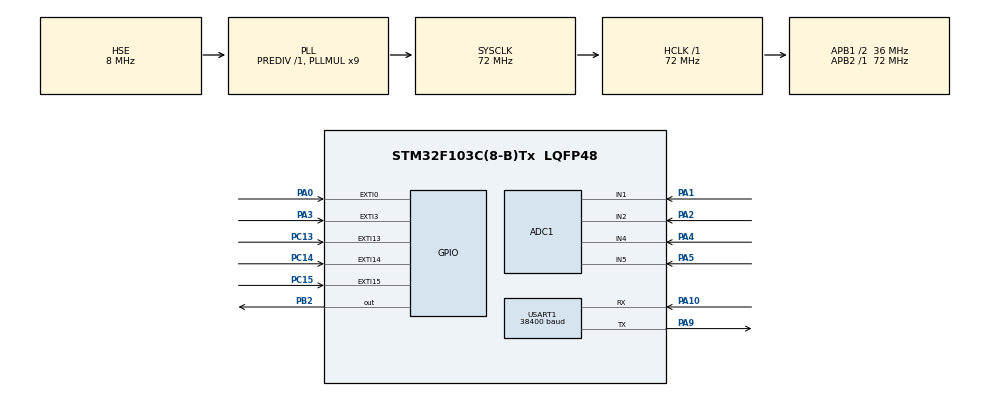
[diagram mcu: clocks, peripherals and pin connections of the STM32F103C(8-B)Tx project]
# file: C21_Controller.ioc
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ADC1.Channel-0\#ChannelRegularConversion=ADC_CHANNEL_1
ADC1.Channel-1\#ChannelRegularConversion=ADC_CHANNEL_2
ADC1.Channel-4\#ChannelRegularConversion=ADC_CHANNEL_4
ADC1.Channel-5\#ChannelRegularConversion=ADC_CHANNEL_5
ADC1.ContinuousConvMode=ENABLE
ADC1.NbrOfConversion=4
ADC1.NbrOfConversionFlag=1
ADC1.Rank-0\#ChannelRegularConversion=1
ADC1.Rank-1\#ChannelRegularConversion=2
ADC1.Rank-4\#ChannelRegularConversion=3
ADC1.Rank-5\#ChannelRegularConversion=4
ADC1.SamplingTime-0\#ChannelRegularConversion=ADC_SAMPLETIME_239CYCLES_5
ADC1.SamplingTime-1\#ChannelRegularConversion=ADC_SAMPLETIME_239CYCLES_5
ADC1.SamplingTime-4\#ChannelRegularConversion=ADC_SAMPLETIME_239CYCLES_5
ADC1.SamplingTime-5\#ChannelRegularConversion=ADC_SAMPLETIME_239CYCLES_5
ADC1.master=1
Dma.ADC1.0.Direction=DMA_PERIPH_TO_MEMORY
Dma.ADC1.0.Instance=DMA1_Channel1
Dma.ADC1.0.MemDataAlignment=DMA_MDATAALIGN_WORD
Dma.ADC1.0.MemInc=DMA_MINC_ENABLE
Dma.ADC1.0.Mode=DMA_CIRCULAR
Dma.ADC1.0.PeriphDataAlignment=DMA_PDATAALIGN_WORD
Dma.ADC1.0.PeriphInc=DMA_PINC_DISABLE
Dma.ADC1.0.Priority=DMA_PRIORITY_LOW
Dma.Request0=ADC1
Mcu.Family=STM32F1
Mcu.Name=STM32F103C(8-B)Tx
Mcu.Package=LQFP48
NVIC.ADC1_2_IRQn=true\:0\:0\:false\:false\:true\:true\:true
NVIC.DMA1_Channel1_IRQn=true\:0\:0\:false\:false\:true\:false\:true
NVIC.PriorityGroup=NVIC_PRIORITYGROUP_4
PA0-WKUP.Signal=GPXTI0
PA1.Signal=ADCx_IN1
PA10.Mode=Asynchronous
PA10.Signal=USART1_RX
PA13.Mode=Serial_Wire
PA13.Signal=SYS_JTMS-SWDIO
PA14.Mode=Serial_Wire
PA14.Signal=SYS_JTCK-SWCLK
PA2.Signal=ADCx_IN2
PA3.Signal=GPXTI3
PA4.Signal=ADCx_IN4
PA5.Signal=ADCx_IN5
PA9.Mode=Asynchronous
PA9.Signal=USART1_TX
PB2.Signal=GPIO_Output
PC13-TAMPER-RTC.Signal=GPXTI13
PC14-OSC32_IN.Signal=GPXTI14
PC15-OSC32_OUT.Signal=GPXTI15
PD0-OSC_IN.Mode=HSE-External-Oscillator
PD0-OSC_IN.Signal=RCC_OSC_IN
PD1-OSC_OUT.Mode=HSE-External-Oscillator
PD1-OSC_OUT.Signal=RCC_OSC_OUT
ProjectManager.HeapSize=0x200
ProjectManager.StackSize=0x400
ProjectManager.TargetToolchain=STM32CubeIDE
RCC.ADCPresc=RCC_ADCPCLK2_DIV6
RCC.AHBFreq_Value=72000000
RCC.APB1CLKDivider=RCC_HCLK_DIV2
RCC.APB1Freq_Value=36000000
RCC.APB1TimFreq_Value=72000000
RCC.APB2Freq_Value=72000000
RCC.APB2TimFreq_Value=72000000
RCC.HCLKFreq_Value=72000000
RCC.PLLMUL=RCC_PLL_MUL9
RCC.PLLSourceVirtual=RCC_PLLSOURCE_HSE
RCC.SYSCLKFreq_VALUE=72000000
RCC.SYSCLKSource=RCC_SYSCLKSOURCE_PLLCLK
RCC.USBFreq_Value=72000000
SH.ADCx_IN1.0=ADC1_IN1,IN1
SH.ADCx_IN2.0=ADC1_IN2,IN2
SH.ADCx_IN4.0=ADC1_IN4,IN4
SH.ADCx_IN5.0=ADC1_IN5,IN5
USART1.BaudRate=38400
USART1.VirtualMode=VM_ASYNC
board=custom

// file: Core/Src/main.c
/* USER CODE BEGIN Header */
/**
  ******************************************************************************
  * @file           : main.c
  * @brief          : Main program body
  ******************************************************************************
  * @attention
  *
  * <h2><center>&copy; Copyright (c) 2020 STMicroelectronics.
  * All rights reserved.</center></h2>
  *
  * This software component is licensed by ST under BSD 3-Clause license,
  * the "License"; You may not use this file except in compliance with the
  * License. You may obtain a copy of the License at:
  *                        opensource.org/licenses/BSD-3-Clause
  *
  ******************************************************************************
  */
/* USER CODE END Header */
#include "main.h"

/* USER CODE BEGIN Includes */
#include <stdbool.h>
#include <stdint.h>
/* USER CODE END Includes */

ADC_HandleTypeDef hadc1;
DMA_HandleTypeDef hdma_adc1;

UART_HandleTypeDef huart1;

/* USER CODE BEGIN PV */
uint32_t VR[4];
uint8_t Tx_data[1];
bool received = false;
/* USER CODE END PV */

void SystemClock_Config(void);
static void MX_GPIO_Init(void);
static void MX_DMA_Init(void);
static void MX_ADC1_Init(void);
static void MX_USART1_UART_Init(void);

int main(void)
{

  /* MCU Configuration--------------------------------------------------------*/

  /* Reset of all peripherals, Initializes the Flash interface and the Systick. */
  HAL_Init();

  /* Configure the system clock */
  SystemClock_Config();

  /* Initialize all configured peripherals */
  MX_GPIO_Init();
  MX_DMA_Init();
  MX_ADC1_Init();
  MX_USART1_UART_Init();
  /* USER CODE BEGIN 2 */
  HAL_ADC_Start_DMA(&hadc1, VR, 4);
  /* USER CODE END 2 */

  /* Infinite loop */
  while (1)
  {

    /* USER CODE BEGIN 3 */
	  if (VR[0] < 1000 || VR[2] < 1000)
	  {
		  Tx_data[0] = 'r';
		  received = true;
	  }
	  if (VR[0] > 3000 || VR[2] > 3000)
	  {
		  Tx_data[0] = 'l';
		  received = true;
	  }
	  if (VR[1] < 1000 || VR[3] < 1000)
	  {
		  Tx_data[0] = 'f';
		  received = true;
	  }
	  if (VR[1] > 3000 || VR[3] > 3000)
	  {
		  Tx_data[0] = 'b';
		  received = true;
	  }
	  if (received)
	  {
		  HAL_UART_Transmit(&huart1, (uint8_t *)Tx_data, sizeof(Tx_data), 50);
		  received = false;
	  }
	  HAL_Delay(50);
  }
  /* USER CODE END 3 */
}

void SystemClock_Config(void)
{
  RCC_OscInitTypeDef RCC_OscInitStruct = {0};
  RCC_ClkInitTypeDef RCC_ClkInitStruct = {0};
  RCC_PeriphCLKInitTypeDef PeriphClkInit = {0};

  /** Initializes the RCC Oscillators according to the specified parameters
  * in the RCC_OscInitTypeDef structure.
  */
  RCC_OscInitStruct.OscillatorType = RCC_OSCILLATORTYPE_HSE;
  RCC_OscInitStruct.HSEState = RCC_HSE_ON;
  RCC_OscInitStruct.HSEPredivValue = RCC_HSE_PREDIV_DIV1;
  RCC_OscInitStruct.HSIState = RCC_HSI_ON;
  RCC_OscInitStruct.PLL.PLLState = RCC_PLL_ON;
  RCC_OscInitStruct.PLL.PLLSource = RCC_PLLSOURCE_HSE;
  RCC_OscInitStruct.PLL.PLLMUL = RCC_PLL_MUL9;
  if (HAL_RCC_OscConfig(&RCC_OscInitStruct) != HAL_OK)
  {
    Error_Handler();
  }
  /** Initializes the CPU, AHB and APB buses clocks
  */
  RCC_ClkInitStruct.ClockType = RCC_CLOCKTYPE_HCLK|RCC_CLOCKTYPE_SYSCLK
                              |RCC_CLOCKTYPE_PCLK1|RCC_CLOCKTYPE_PCLK2;
  RCC_ClkInitStruct.SYSCLKSource = RCC_SYSCLKSOURCE_PLLCLK;
  RCC_ClkInitStruct.AHBCLKDivider = RCC_SYSCLK_DIV1;
  RCC_ClkInitStruct.APB1CLKDivider = RCC_HCLK_DIV2;
  RCC_ClkInitStruct.APB2CLKDivider = RCC_HCLK_DIV1;

  if (HAL_RCC_ClockConfig(&RCC_ClkInitStruct, FLASH_LATENCY_2) != HAL_OK)
  {
    Error_Handler();
  }
  PeriphClkInit.PeriphClockSelection = RCC_PERIPHCLK_ADC;
  PeriphClkInit.AdcClockSelection = RCC_ADCPCLK2_DIV6;
  if (HAL_RCCEx_PeriphCLKConfig(&PeriphClkInit) != HAL_OK)
  {
    Error_Handler();
  }
}

static void MX_ADC1_Init(void)
{

  ADC_ChannelConfTypeDef sConfig = {0};

  /** Common config
  */
  hadc1.Instance = ADC1;
  hadc1.Init.ScanConvMode = ADC_SCAN_ENABLE;
  hadc1.Init.ContinuousConvMode = ENABLE;
  hadc1.Init.DiscontinuousConvMode = DISABLE;
  hadc1.Init.ExternalTrigConv = ADC_SOFTWARE_START;
  hadc1.Init.DataAlign = ADC_DATAALIGN_RIGHT;
  hadc1.Init.NbrOfConversion = 4;
  if (HAL_ADC_Init(&hadc1) != HAL_OK)
  {
    Error_Handler();
  }
  /** Configure Regular Channel
  */
  sConfig.Channel = ADC_CHANNEL_1;
  sConfig.Rank = ADC_REGULAR_RANK_1;
  sConfig.SamplingTime = ADC_SAMPLETIME_239CYCLES_5;
  if (HAL_ADC_ConfigChannel(&hadc1, &sConfig) != HAL_OK)
  {
    Error_Handler();
  }
  /** Configure Regular Channel
  */
  sConfig.Channel = ADC_CHANNEL_2;
  sConfig.Rank = ADC_REGULAR_RANK_2;
  if (HAL_ADC_ConfigChannel(&hadc1, &sConfig) != HAL_OK)
  {
    Error_Handler();
  }
  /** Configure Regular Channel
  */
  sConfig.Channel = ADC_CHANNEL_4;
  sConfig.Rank = ADC_REGULAR_RANK_3;
  if (HAL_ADC_ConfigChannel(&hadc1, &sConfig) != HAL_OK)
  {
    Error_Handler();
  }
  /** Configure Regular Channel
  */
  sConfig.Channel = ADC_CHANNEL_5;
  sConfig.Rank = ADC_REGULAR_RANK_4;
  if (HAL_ADC_ConfigChannel(&hadc1, &sConfig) != HAL_OK)
  {
    Error_Handler();
  }

}

static void MX_USART1_UART_Init(void)
{

  huart1.Instance = USART1;
  huart1.Init.BaudRate = 38400;
  huart1.Init.WordLength = UART_WORDLENGTH_8B;
  huart1.Init.StopBits = UART_STOPBITS_1;
  huart1.Init.Parity = UART_PARITY_NONE;
  huart1.Init.Mode = UART_MODE_TX_RX;
  huart1.Init.HwFlowCtl = UART_HWCONTROL_NONE;
  huart1.Init.OverSampling = UART_OVERSAMPLING_16;
  if (HAL_UART_Init(&huart1) != HAL_OK)
  {
    Error_Handler();
  }

}

static void MX_DMA_Init(void)
{

  /* DMA controller clock enable */
  __HAL_RCC_DMA1_CLK_ENABLE();

  /* DMA interrupt init */
  /* DMA1_Channel1_IRQn interrupt configuration */
  HAL_NVIC_SetPriority(DMA1_Channel1_IRQn, 0, 0);
  HAL_NVIC_EnableIRQ(DMA1_Channel1_IRQn);

}

static void MX_GPIO_Init(void)
{
  GPIO_InitTypeDef GPIO_InitStruct = {0};

  /* GPIO Ports Clock Enable */
  __HAL_RCC_GPIOC_CLK_ENABLE();
  __HAL_RCC_GPIOD_CLK_ENABLE();
  __HAL_RCC_GPIOA_CLK_ENABLE();
  __HAL_RCC_GPIOB_CLK_ENABLE();

  /*Configure GPIO pin Output Level */
  HAL_GPIO_WritePin(GPIOB, GPIO_PIN_2, GPIO_PIN_RESET);

  /*Configure GPIO pins : PC13 PC14 PC15 */
  GPIO_InitStruct.Pin = GPIO_PIN_13|GPIO_PIN_14|GPIO_PIN_15;
  GPIO_InitStruct.Mode = GPIO_MODE_IT_RISING;
  GPIO_InitStruct.Pull = GPIO_NOPULL;
  HAL_GPIO_Init(GPIOC, &GPIO_InitStruct);

  /*Configure GPIO pins : PA0 PA3 */
  GPIO_InitStruct.Pin = GPIO_PIN_0|GPIO_PIN_3;
  GPIO_InitStruct.Mode = GPIO_MODE_IT_RISING;
  GPIO_InitStruct.Pull = GPIO_NOPULL;
  HAL_GPIO_Init(GPIOA, &GPIO_InitStruct);

  /*Configure GPIO pin : PB2 */
  GPIO_InitStruct.Pin = GPIO_PIN_2;
  GPIO_InitStruct.Mode = GPIO_MODE_OUTPUT_PP;
  GPIO_InitStruct.Pull = GPIO_NOPULL;
  GPIO_InitStruct.Speed = GPIO_SPEED_FREQ_LOW;
  HAL_GPIO_Init(GPIOB, &GPIO_InitStruct);

}

/* USER CODE BEGIN 4 */
void HAL_ADC_ConvCpltCallback(ADC_HandleTypeDef* hadc)
{
	if (hadc->Instance == hadc1.Instance)
	{
		VR[3] = HAL_ADC_GetValue(&hadc1);
	}
}
/* USER CODE END 4 */

void Error_Handler(void)
{
}

/************************ (C) COPYRIGHT STMicroelectronics *****END OF FILE****/
